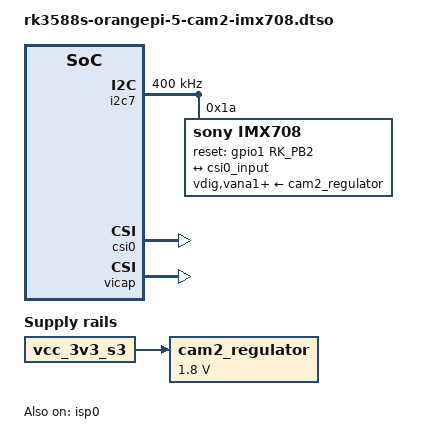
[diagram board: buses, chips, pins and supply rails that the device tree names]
// SPDX-License-Identifier: (GPL-2.0+ OR MIT)
/*
 * IMX708 on Orange Pi 5 / 5B CAM2 (Samsung DCPHY0 CSI RX + CSI0).
 */

/dts-v1/;
/plugin/;

#include <dt-bindings/clock/rockchip,rk3588-cru.h>
#include <dt-bindings/gpio/gpio.h>
#include <dt-bindings/pinctrl/rockchip.h>

&{/} {
	cam2_regulator: cam2_regulator {
		compatible = "regulator-fixed";
		regulator-name = "cam2_regulator";
		regulator-min-microvolt = <1800000>;
		regulator-max-microvolt = <1800000>;
		vin-supply = <&vcc_3v3_s3>;
	};
};

&i2c7 {
	#address-cells = <1>;
	#size-cells = <0>;
	clock-frequency = <400000>;
	pinctrl-names = "default";
	pinctrl-0 = <&i2c7m0_xfer>;
	status = "okay";

	imx708: camera-sensor@1a {
		compatible = "sony,imx708";
		reg = <0x1a>;
		assigned-clocks = <&cru CLK_MIPI_CAMARAOUT_M4>;
		assigned-clock-rates = <24000000>;
		clocks = <&cru CLK_MIPI_CAMARAOUT_M4>;
		vdig-supply = <&cam2_regulator>;
		vana1-supply = <&cam2_regulator>;
		vana2-supply = <&cam2_regulator>;
		vddl-supply = <&cam2_regulator>;
		orientation = <2>;
		pinctrl-names = "default";
		pinctrl-0 = <&cam2_rstn &mipim0_camera4_clk>;
		reset-gpios = <&gpio1 RK_PB2 GPIO_ACTIVE_HIGH>;
		port {
			imx708_output: endpoint {
				data-lanes = <1 2>;
				clock-noncontinuous;
				link-frequencies = /bits/ 64 <450000000>;
				remote-endpoint = <&csi0_input>;
			};
		};
	};
};

&pinctrl {
	cam2 {
		cam2_rstn: cam2-rstn-pinctrl {
			rockchip,pins = <1 RK_PB2 RK_FUNC_GPIO &pcfg_pull_none>;
		};
	};
};

&csi0 {
	status = "okay";
};

&csi0_in {
	csi0_input: endpoint {
		data-lanes = <1 2>;
		clock-noncontinuous;
		link-frequencies = /bits/ 64 <450000000>;
		remote-endpoint = <&imx708_output>;
	};
};

&vicap {
	status = "okay";
};

&vicap_mmu {
	status = "okay";
};

&isp0 {
	status = "okay";
};

&isp0_mmu {
	status = "okay";
};
